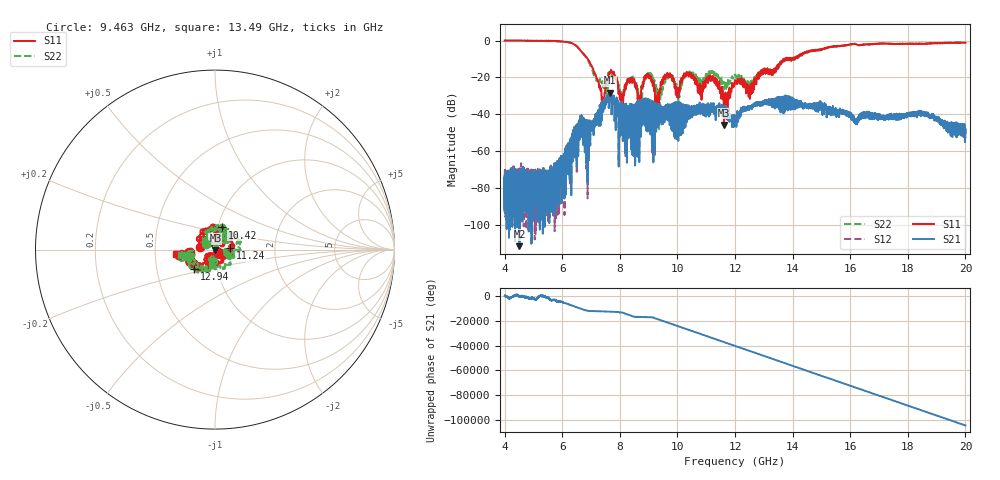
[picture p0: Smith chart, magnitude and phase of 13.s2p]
[Version] 2.0
! Rohde & Schwarz Vector Network Analyzer
! Rohde-Schwarz,ZNL20-2Port,1323001220200009,1.71.1.10-23.02.1.238
! Port Assignments:
! Nominal Port -> Actual Test Port
!  1 -> 1
!  2 -> 2
! Created: GMT+2 2025-01-16 20:24:54
# Hz S RI R 50
[Number of Ports] 2
[Two-Port Data Order] 21_12
! freq[Hz]  S11[Re]  S11[Im]  S21[Re]  S21[Im]  S12[Re]  S12[Im]  S22[Re]  S22[Im]
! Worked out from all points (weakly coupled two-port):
!   16001 points, 4 GHz to 20 GHz, reference 50 ohm
!   highest |S21| = -28.27 dB at 7.644 GHz (marker M1); lowest = -111.3 dB at 4.516 GHz (marker M2)
!   lowest |S11| = -45.7 dB at 11.62 GHz (marker M3), VSWR 1.01, Z = 50.2 - j0.476 ohm
!   |S11| at or under -10 dB: 6.884 GHz to 13.7 GHz (6.817 GHz wide, 66.2 % of centre); 13.71498 GHz to 13.74348 GHz (28.5 MHz wide, 0.208 % of centre); 13.94326 GHz to 13.96732 GHz (24.05 MHz wide, 0.172 % of centre) (the widest 3 of 9)
!   |S22| runs from -49.3 to 0.0 dB; largest |S21 - S12| = 0.0024
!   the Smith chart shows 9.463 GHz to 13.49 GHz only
!   S11 on the Smith chart (normalised r, x): 9.463 GHz: 0.85, +0.02; 10.42 GHz: 1.05, +0.26; 11.24 GHz: 1.19, +0.02; 12.94 GHz: 0.78, -0.17; 13.49 GHz: 0.65, -0.03
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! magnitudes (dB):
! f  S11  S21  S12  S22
! 4 GHz  0.0  -74.6  -87.4  -0.2
! 4.516 GHz  0.0  -111.3  -76.6  -0.1
! 5.726 GHz  -0.3  -78.0  -79.8  -0.4
! 6.667 GHz  -6.0  -41.3  -40.9  -6.0
! 7.405 GHz  -30.8  -34.1  -34.0  -22.3
! 7.644 GHz  -17.4  -28.3  -28.3  -20.0
! 8.042 GHz  -38.3  -35.5  -35.4  -30.4
! 8.429 GHz  -22.8  -41.6  -41.6  -21.7
! 8.71 GHz  -32.4  -34.4  -34.5  -38.2
! 9.048 GHz  -20.2  -32.7  -32.7  -18.6
! 9.334 GHz  -28.2  -34.3  -34.5  -31.8
! 9.463 GHz  -21.5  -38.7  -38.8  -25.0
! 10.42 GHz  -17.7  -41.3  -41.4  -17.2
! 10.78 GHz  -23.7  -33.8  -33.7  -21.3
! 11.24 GHz  -21.4  -37.8  -37.7  -18.1
! 11.62 GHz  -45.7  -36.3  -36.1  -24.1
! 12 GHz  -21.6  -43.3  -43.3  -18.6
! 12.94 GHz  -16.0  -33.3  -33.2  -16.1
! 13.49 GHz  -13.3  -35.9  -35.9  -14.5
! 14.67 GHz  -5.5  -34.5  -34.5  -5.8
! 17.33 GHz  -1.8  -41.1  -40.8  -1.8
! 20 GHz  -1.2  -49.8  -50.6  -1.1
